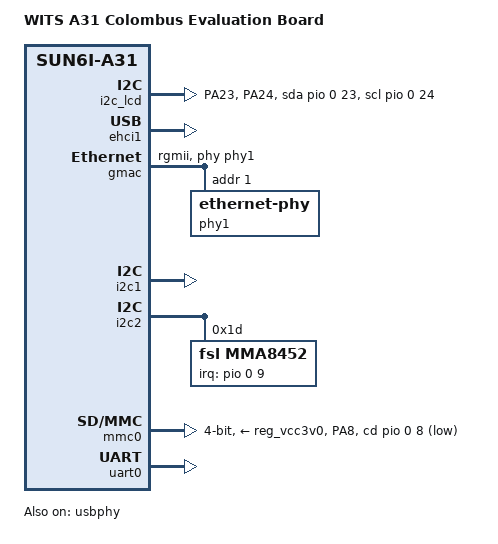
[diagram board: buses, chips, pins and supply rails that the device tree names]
/*
 * Copyright 2013 Maxime Ripard
 *
 * Maxime Ripard <maxime.ripard@free-electrons.com>
 *
 * This file is dual-licensed: you can use it either under the terms
 * of the GPL or the X11 license, at your option. Note that this dual
 * licensing only applies to this file, and not this project as a
 * whole.
 *
 *  a) This file is free software; you can redistribute it and/or
 *     modify it under the terms of the GNU General Public License as
 *     published by the Free Software Foundation; either version 2 of the
 *     License, or (at your option) any later version.
 *
 *     This file is distributed in the hope that it will be useful,
 *     but WITHOUT ANY WARRANTY; without even the implied warranty of
 *     MERCHANTABILITY or FITNESS FOR A PARTICULAR PURPOSE.  See the
 *     GNU General Public License for more details.
 *
 * Or, alternatively,
 *
 *  b) Permission is hereby granted, free of charge, to any person
 *     obtaining a copy of this software and associated documentation
 *     files (the "Software"), to deal in the Software without
 *     restriction, including without limitation the rights to use,
 *     copy, modify, merge, publish, distribute, sublicense, and/or
 *     sell copies of the Software, and to permit persons to whom the
 *     Software is furnished to do so, subject to the following
 *     conditions:
 *
 *     The above copyright notice and this permission notice shall be
 *     included in all copies or substantial portions of the Software.
 *
 *     THE SOFTWARE IS PROVIDED "AS IS", WITHOUT WARRANTY OF ANY KIND,
 *     EXPRESS OR IMPLIED, INCLUDING BUT NOT LIMITED TO THE WARRANTIES
 *     OF MERCHANTABILITY, FITNESS FOR A PARTICULAR PURPOSE AND
 *     NONINFRINGEMENT. IN NO EVENT SHALL THE AUTHORS OR COPYRIGHT
 *     HOLDERS BE LIABLE FOR ANY CLAIM, DAMAGES OR OTHER LIABILITY,
 *     WHETHER IN AN ACTION OF CONTRACT, TORT OR OTHERWISE, ARISING
 *     FROM, OUT OF OR IN CONNECTION WITH THE SOFTWARE OR THE USE OR
 *     OTHER DEALINGS IN THE SOFTWARE.
 */

/dts-v1/;
#include "sun6i-a31.dtsi"
#include "sunxi-common-regulators.dtsi"

#include <dt-bindings/gpio/gpio.h>
#include <dt-bindings/pinctrl/sun4i-a10.h>

/ {
	model = "WITS A31 Colombus Evaluation Board";
	compatible = "wits,colombus", "allwinner,sun6i-a31";

	aliases {
		serial0 = &uart0;
	};

	chosen {
		stdout-path = "serial0:115200n8";
	};

	i2c_lcd: i2c@0 {
		/* The lcd panel i2c interface is hooked up via gpios */
		compatible = "i2c-gpio";
		pinctrl-names = "default";
		pinctrl-0 = <&i2c_lcd_pins>;
		gpios = <&pio 0 23 GPIO_ACTIVE_HIGH>, /* PA23, sda */
			<&pio 0 24 GPIO_ACTIVE_HIGH>; /* PA24, scl */
		i2c-gpio,delay-us = <5>;
	};
};

&ehci1 {
	status = "okay";
};

&gmac {
	pinctrl-names = "default";
	pinctrl-0 = <&gmac_pins_rgmii_a>;
	phy = <&phy1>;
	phy-mode = "rgmii";
	status = "okay";

	phy1: ethernet-phy@1 {
		reg = <1>;
	};
};

&i2c0 {
	pinctrl-names = "default";
	pinctrl-0 = <&i2c0_pins_a>;
	status = "fail";
};

&i2c1 {
	pinctrl-names = "default";
	pinctrl-0 = <&i2c1_pins_a>;
	status = "okay";
};

&i2c2 {
	pinctrl-names = "default";
	pinctrl-0 = <&i2c2_pins_a>;
	status = "okay";

	mma8452: mma8452@1d {
		compatible = "fsl,mma8452";
		reg = <0x1d>;
		interrupt-parent = <&pio>;
		interrupts = <0 9 IRQ_TYPE_LEVEL_LOW>; /* PA9 */
	};
};

&mmc0 {
	pinctrl-names = "default";
	pinctrl-0 = <&mmc0_pins_a>, <&mmc0_cd_pin_colombus>;
	vmmc-supply = <&reg_vcc3v0>;
	bus-width = <4>;
	cd-gpios = <&pio 0 8 GPIO_ACTIVE_HIGH>; /* PA8 */
	cd-inverted;
	status = "okay";
};

&mmc0_pins_a {
	bias-pull-up;
};

&pio {
	mmc0_cd_pin_colombus: mmc0_cd_pin@0 {
		pins = "PA8";
		function = "gpio_in";
		bias-pull-up;
	};

	usb2_vbus_pin_colombus: usb2_vbus_pin@0 {
		pins = "PH24";
		function = "gpio_out";
	};

	i2c_lcd_pins: i2c_lcd_pin@0 {
		pins = "PA23", "PA24";
		function = "gpio_out";
		bias-pull-up;
	};
};

&reg_usb2_vbus {
	pinctrl-names = "default";
	pinctrl-0 = <&usb2_vbus_pin_colombus>;
	gpio = <&pio 7 24 GPIO_ACTIVE_HIGH>;
	status = "okay";
};

&uart0 {
	pinctrl-names = "default";
	pinctrl-0 = <&uart0_pins_a>;
	status = "okay";
};

&usbphy {
	usb2_vbus-supply = <&reg_usb2_vbus>;
	status = "okay";
};
